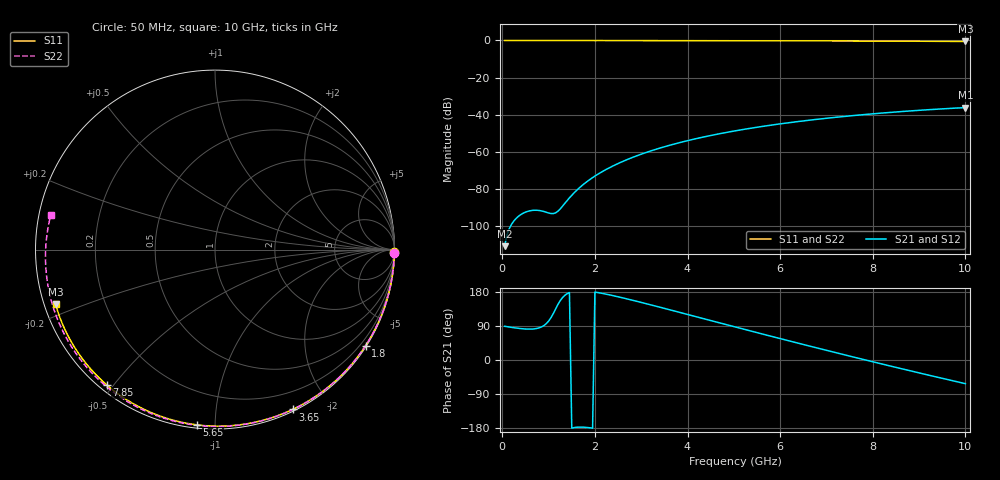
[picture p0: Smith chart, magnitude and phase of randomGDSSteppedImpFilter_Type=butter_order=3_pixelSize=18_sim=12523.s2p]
! freq	dB(S11)	phase(S11)	dB(S12)	phase(S12)
!  dB(S21)	phase(S21)	dB(S22)	phase(S22)
!S-par simulation data
#  GHz  S  DB  R 50
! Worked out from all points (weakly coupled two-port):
!   200 points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, 50 MHz to 10 GHz, reference 50 ohm
!   highest |S21| = -36.19 dB at 10 GHz (marker M1); lowest = -110.9 dB at 50 MHz (marker M2)
!   lowest |S11| = -0.5 dB at 10 GHz (marker M3), VSWR 31.85, Z = 1.61 - j8.36 ohm
!   |S11| at or under -10 dB: nowhere
!   |S22| runs from -0.6 to 0.0 dB; largest |S21 - S12| = 0
!   S11 on the Smith chart (normalised r, x): 50 MHz: open; 1.8 GHz: 0.03, -3.43; 3.65 GHz: 0.02, -1.60; 5.65 GHz: 0.02, -0.90; 7.85 GHz: 0.02, -0.48; 10 GHz: 0.03, -0.17
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0.05  -0.00 -0.9  -110.91 89.0  -110.91 89.0  -0.00 -1.1
0.45  -0.01 -8.2  -93.15 82.2  -93.15 82.2  -0.02 -10.3
0.8  -0.02 -14.6  -91.68 85.0  -91.68 85.0  -0.02 -18.2
1.2  -0.03 -21.8  -92.09 146.2  -92.09 146.2  -0.03 -27.2
1.6  -0.04 -28.9  -80.93 -177.6  -80.93 -177.6  -0.05 -36.1
1.65  -0.04 -29.8  -79.77 -177.2  -79.77 -177.2  -0.05 -37.2
1.75  -0.04 -31.6  -77.63 -177.3  -77.63 -177.3  -0.05 -39.4
1.8  -0.04 -32.5  -76.64 -177.7  -76.64 -177.7  -0.05 -40.5
2.1  -0.05 -37.7  -71.57 177.2  -71.57 177.2  -0.06 -47.0
2.5  -0.06 -44.7  -66.35 166.9  -66.35 166.9  -0.07 -55.5
2.9  -0.07 -51.5  -62.22 155.0  -62.22 155.0  -0.08 -63.8
3.4  -0.08 -60.0  -58.05 139.4  -58.05 139.4  -0.10 -73.9
3.65  -0.09 -64.1  -56.26 131.5  -56.26 131.5  -0.11 -78.9
4.35  -0.11 -75.5  -52.03 109.0  -52.03 109.0  -0.13 -92.4
5.05  -0.13 -86.6  -48.64 86.5  -48.64 86.5  -0.16 -105.4
5.65  -0.16 -95.9  -46.22 67.5  -46.22 67.5  -0.19 -116.2
6.7  -0.22 -111.7  -42.78 34.7  -42.78 34.7  -0.26 -134.5
7.3  -0.26 -120.6  -41.17 16.4  -41.17 16.4  -0.30 -144.8
7.85  -0.31 -128.7  -39.88 -0.2  -39.88 -0.2  -0.35 -154.2
8.35  -0.35 -136.1  -38.84 -15.1  -38.84 -15.1  -0.40 -162.8
9.2  -0.44 -148.8  -37.34 -39.8  -37.34 -39.8  -0.49 -177.6
10  -0.55 -161.0  -36.19 -62.5  -36.19 -62.5  -0.58 168.0
